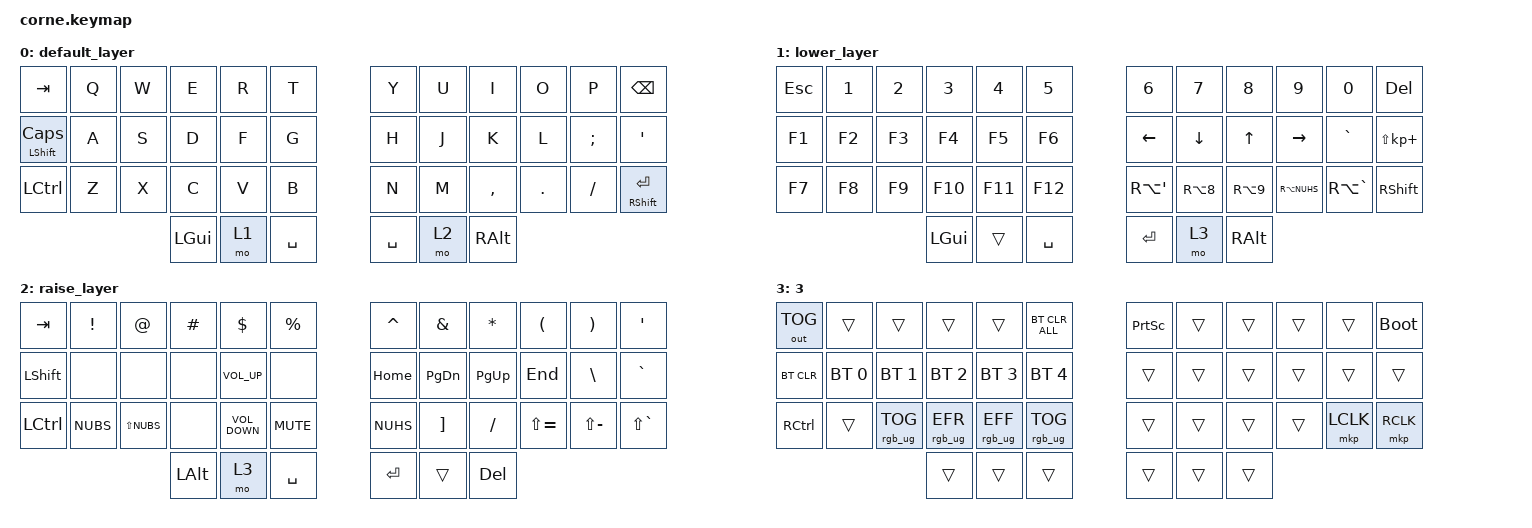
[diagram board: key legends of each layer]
/*
 * Copyright (c) 2020 The ZMK Contributors
 *
 * SPDX-License-Identifier: MIT
 */

#include <behaviors.dtsi>
#include <dt-bindings/zmk/bt.h>
#include <dt-bindings/zmk/keys.h>
#include <dt-bindings/zmk/mouse.h>
#include <dt-bindings/zmk/outputs.h>
#include <dt-bindings/zmk/rgb.h>
#include "keys_es.h"


/ {
    keymap {
        compatible = "zmk,keymap";

        default_layer {
            // -----------------------------------------------------------------------------------------
            // |  TAB        |  Q  |  W  |  E  |  R  |  T  |        |  Y  |  U   |  I  |  O  |  P  | BKSP |
            // | LSHIFT/CAPS |  A  |  S  |  D  |  F  |  G  |        |  H  |  J   |  K  |  L  |  ;  |  '   |
            // | LCTRL       |  Z  |  X  |  C  |  V  |  B  |        |  N  |  M   |  ,  |  .  |  /  | ENT  |
            //                              | GUI | LWR | SPC |  | SPC | RSE  | RALT |

            bindings = <
&kp TAB                  &kp Q  &kp W  &kp E     &kp R  &kp T        &kp Y      &kp U  &kp I      &kp O    &kp P     &kp BSPC
&mt LEFT_SHIFT CAPSLOCK  &kp A  &kp S  &kp D     &kp F  &kp G        &kp H      &kp J  &kp K      &kp L    &kp SEMI  &kp SQT
&kp LCTRL                &kp Z  &kp X  &kp C     &kp V  &kp B        &kp N      &kp M  &kp COMMA  &kp DOT  &kp FSLH  &mt RIGHT_SHIFT ENTER
                                       &kp LGUI  &mo 1  &kp SPACE    &kp SPACE  &mo 2  &kp RALT
            >;
        };

        lower_layer {
            // -----------------------------------------------------------------------------------------
            // | ESC |  1  |  2  |  3  |  4  |  5  |         |  6  |  7  |  8  |  9  |  0  | BKSP |
            // |  F1 |  F2 |  F3 |  F4 |  F5 |  F6 |         | LFT | DWN |  UP | RGT |  ^  |   *  |
            // |  F7 |  F8 |  F9 | F10 | F11 | F12 |         |  {  |  [  |  ]  |  }  |     | RSHIFT |
            //                     | GUI |     | SPC |     | ENT | MO3 | ALT |

            bindings = <
&kp ESCAPE  &kp N1  &kp N2  &kp N3    &kp N4   &kp N5       &kp N6                &kp N7      &kp N8      &kp N9        &kp N0         &kp DEL
&kp F1      &kp F2  &kp F3  &kp F4    &kp F5   &kp F6       &kp LEFT              &kp DOWN    &kp UP      &kp RIGHT     &kp GRAVE      &kp LS(KP_PLUS)
&kp F7      &kp F8  &kp F9  &kp F10   &kp F11  &kp F12      &kp RA(SINGLE_QUOTE)  &kp RA(N8)  &kp RA(N9)  &kp RA(NUHS)  &kp RA(GRAVE)  &kp RIGHT_SHIFT
                            &kp LGUI  &trans   &kp SPACE    &kp RET               &mo 3       &kp RALT
            >;
        };

        raise_layer {
            // -----------------------------------------------------------------------------------------
            // |  TAB  |  !  |  @  |  #  |  $  |  %  |       |  ^   |   &   |   *   |  (  |  )  | BKSP |
            // | LSHFT |     |     |     |     |     |       | HOME | PG-DN | PG_UP | END |  \  |  `   |
            // | LCTRL |  <  |  >  |     |     |     |       |   _  |   +   |   {   |  }  | "|" |  ~   |
            //                       | GUI |     | SPC |   | ENT |     | ALT |

            bindings = <
&kp TAB         &kp EXCL  &kp AT        &kp HASH      &kp DLLR           &kp PRCNT     &kp CARET  &kp AMPS           &kp ASTRK  &kp LPAR       &kp RPAR       &kp SQT
&kp LEFT_SHIFT  &none     &none         &none         &kp K_VOLUME_UP    &none         &kp HOME   &kp PAGE_DOWN      &kp PG_UP  &kp END        &kp BSLH       &kp GRAVE
&kp LCTRL       &kp NUBS  &kp LS(NUBS)  &none         &kp K_VOLUME_DOWN  &kp C_MUTE    &kp NUHS   &kp RIGHT_BRACKET  &kp SLASH  &kp LS(EQUAL)  &kp LS(MINUS)  &kp LS(GRAVE)
                                        &kp LEFT_ALT  &mo 3              &kp SPACE     &kp RET    &trans             &kp DEL
            >;
        };

        bluethooth {
            bindings = <
&out OUT_TOG  &trans        &trans           &trans           &trans           &bt BT_CLR_ALL     &kp PRINTSCREEN  &trans  &trans  &trans  &trans     &bootloader
&bt BT_CLR    &bt BT_SEL 0  &bt BT_SEL 1     &bt BT_SEL 2     &bt BT_SEL 3     &bt BT_SEL 4       &trans           &trans  &trans  &trans  &trans     &trans
&kp RCTRL     &trans        &rgb_ug RGB_TOG  &rgb_ug RGB_EFR  &rgb_ug RGB_EFF  &rgb_ug RGB_TOG    &trans           &trans  &trans  &trans  &mkp LCLK  &mkp RCLK
                                             &trans           &trans           &trans             &trans           &trans  &trans
            >;

            label = "3";
        };
    };
};
